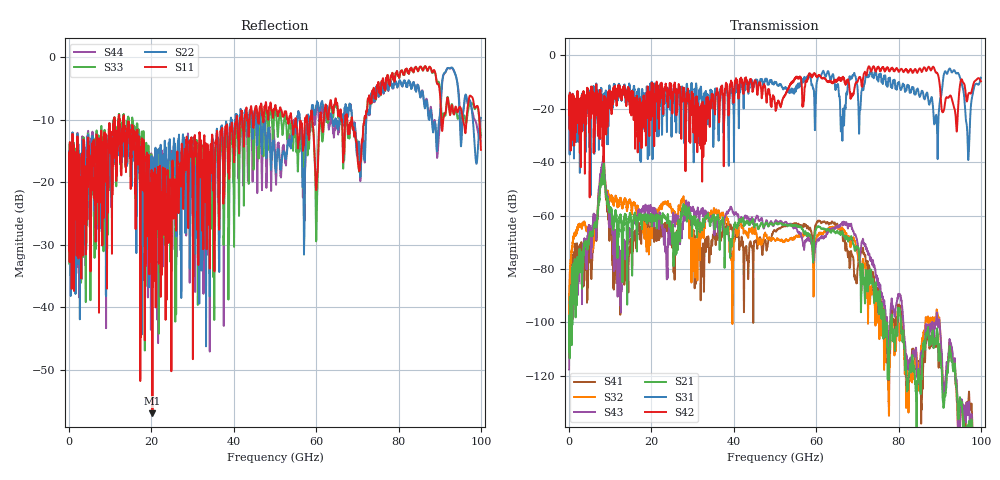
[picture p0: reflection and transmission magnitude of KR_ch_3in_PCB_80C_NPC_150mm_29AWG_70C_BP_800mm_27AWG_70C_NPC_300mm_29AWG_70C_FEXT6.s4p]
# GHz S RI R 45
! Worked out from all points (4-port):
!   4000 points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, 25 MHz to 100 GHz, reference 45 ohm
!   strongest paths, dB at 25 MHz, 25.02 GHz, 50.02 GHz, 75.03 GHz, 100 GHz:
!     S42: -20.7, -17.7, -18.0, -4.4, -9.7
!     S31: -20.7, -15.7, -10.2, -9.4, -8.4
!     S21: -108.6, -69.6, -63.0, -91.0, -168.6
!     S43: -117.6, -62.7, -62.1, -84.2, -163.4
!     S32: -98.5, -58.5, -69.4, -93.9, -179.9
!     S41: -105.1, -68.0, -65.8, -87.9, -162.7
!   lowest |S11| = -56.9 dB at 20.25 GHz (marker M1), VSWR 1.00, Z = 45 - j0.128 ohm
!   |S11| at or under -10 dB: start of sweep to 10.94 GHz; 13.38 GHz to 40.63 GHz (27.26 GHz wide, 101 % of centre); 68.73 GHz to 71.7 GHz (2.972 GHz wide, 4.23 % of centre) (the widest 3 of 29)
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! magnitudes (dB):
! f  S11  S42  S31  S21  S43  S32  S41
! 25 MHz  -16.5  -20.7  -20.7  -108.6  -117.6  -98.5  -105.1
! 8.1 GHz  -18.9  -22.8  -20.5  -47.5  -42.7  -45.7  -44.4
! 12.3 GHz  -11.0  -12.5  -12.7  -60.2  -81.0  -53.9  -82.0
! 20.25 GHz  -56.9  -12.2  -26.0  -61.5  -59.4  -64.1  -67.6
! 92.5 GHz  -9.2  -15.1  -5.0  -109.8  -106.8  -108.6  -107.8
! 96.88 GHz  -7.6  -15.0  -37.7  -139.1  -134.2  -144.3  -130.2
! 100 GHz  -14.8  -9.7  -8.4  -168.6  -163.4  -179.9  -162.7
